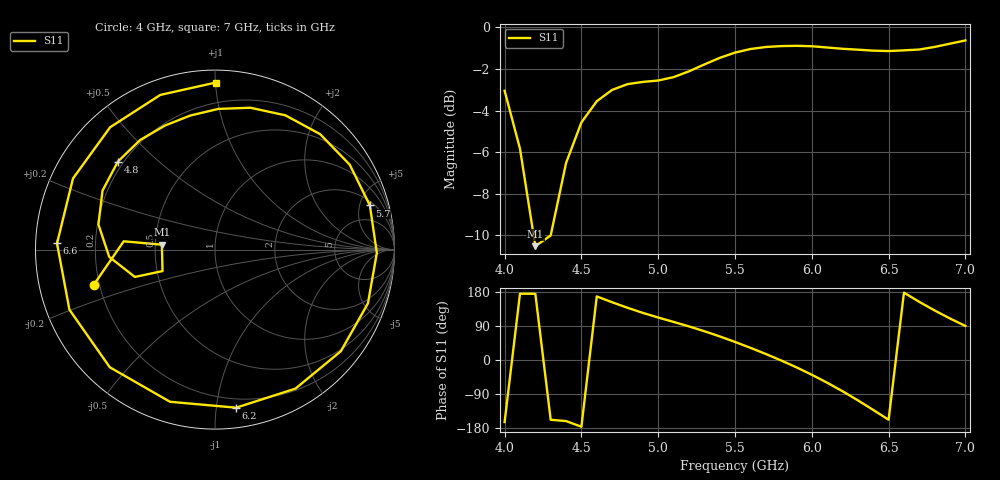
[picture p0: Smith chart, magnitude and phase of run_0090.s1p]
! Touchstone file exported from HFSS 2024.2.0
!  File:  C:/Users/wsak9/Desktop/Sim Fast/Widenad Patch/WP_AI_V1_sweep.aedt
!  Generated:  06:40:11 PM Oct 13, 2026
!  Design:  A1_model
!  Project:  WP_AI_V1_sweep
!  Setup:  Setup1
!  Solution:  Sweep
! Variables:
!  Air_gap = 3.67mm
!  Curve_Amp1 = 1.97
!  Curve_len1 = 1
!  Curve_pos = 13.005mm
!  Extra = 1.47mm
!  H_sub = 0.79mm
!  L_Patch = 22.01mm
!  L_Patch1 = 17.43mm
!  Sx = 0.67mm
!  Sy = 2.5mm
!  WS = 1.11mm
!  W_Patch = 21.93mm
!  W_Patch1 = 15.96mm
!Data is not renormalized
# GHz S MA
! Terminal data exported
! Port[1] = 1
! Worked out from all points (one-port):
!   31 points, 4 GHz to 7 GHz, reference per port
!   lowest |S11| = -10.5 dB at 4.2 GHz (marker M1), VSWR 1.85
!   |S11| at or under -10 dB: 4.189 GHz to 4.3 GHz (111.6 MHz wide, 2.63 % of centre)
!   S11 on the Smith chart (normalised r, x): 4 GHz: 0.18, -0.14; 4.8 GHz: 0.18, +0.38; 5.7 GHz: 2.45, +6.20; 6.2 GHz: 0.14, -1.13; 6.6 GHz: 0.06, +0.02; 7 GHz: 0.07, +1.00
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4  0.7041 -163.8
4.1  0.5108 174.8
4.2  0.2976 174.7
4.3  0.3158 -157.7
4.4  0.4717 -161.2
4.5  0.5907 -176.1
4.6  0.6644 167.8
4.7  0.7075 152.4
4.8  0.7304 137.8
5  0.7453 112.1
5.2  0.7841 88.7
5.4  0.8448 62.3
5.5  0.8699 47.7
5.6  0.8873 32.2
5.7  0.8973 15.9
5.8  0.9019 -1.2
5.9  0.9031 -19.4
6  0.9012 -38.9
6.1  0.8948 -59.9
6.2  0.8886 -82.4
6.3  0.8842 -106.5
6.4  0.8794 -131.8
6.5  0.8775 -157.6
6.6  0.8809 177.7
6.7  0.8849 153.4
6.8  0.8978 130.6
6.9  0.9141 109.5
7  0.9305 89.8
